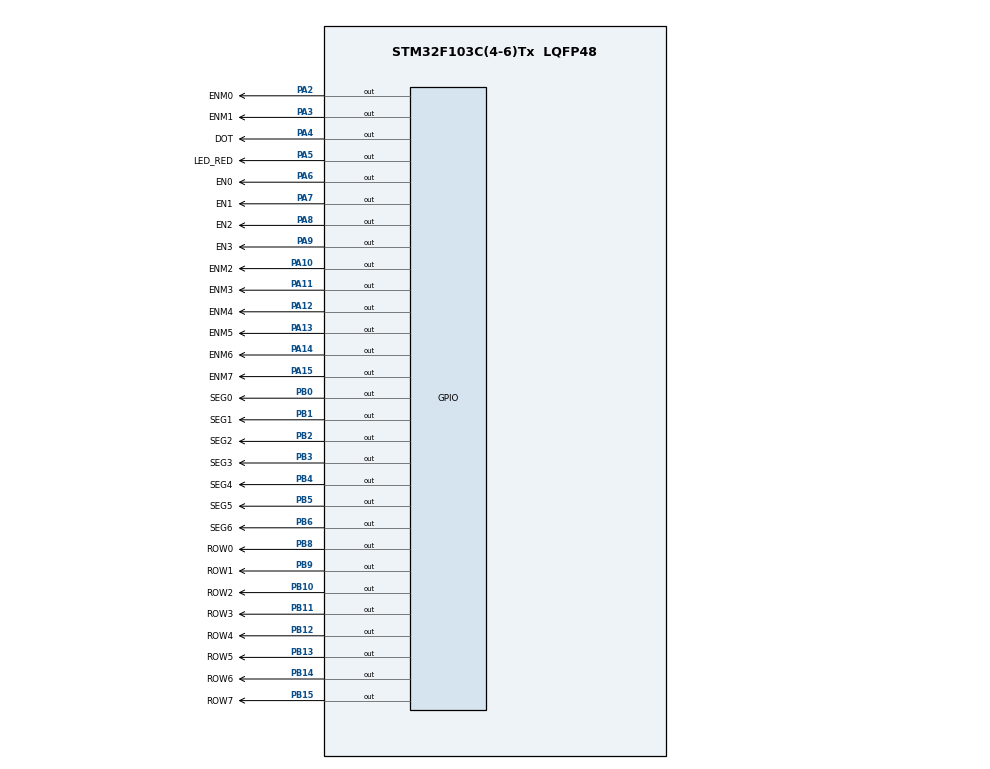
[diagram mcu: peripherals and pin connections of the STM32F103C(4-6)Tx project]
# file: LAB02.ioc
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Mcu.Family=STM32F1
Mcu.Name=STM32F103C(4-6)Tx
Mcu.Package=LQFP48
NVIC.PriorityGroup=NVIC_PRIORITYGROUP_4
NVIC.TIM2_IRQn=true\:0\:0\:false\:false\:true\:true\:true\:true
PA10.GPIO_DefaultOutput=GPIO_PIN_RESET
PA10.GPIO_Label=ENM2
PA10.Signal=GPIO_Output
PA11.GPIO_DefaultOutput=GPIO_PIN_RESET
PA11.GPIO_Label=ENM3
PA11.Signal=GPIO_Output
PA12.GPIO_DefaultOutput=GPIO_PIN_RESET
PA12.GPIO_Label=ENM4
PA12.Signal=GPIO_Output
PA13.GPIO_DefaultOutput=GPIO_PIN_RESET
PA13.GPIO_Label=ENM5
PA13.Signal=GPIO_Output
PA14.GPIO_DefaultOutput=GPIO_PIN_RESET
PA14.GPIO_Label=ENM6
PA14.Signal=GPIO_Output
PA15.GPIO_DefaultOutput=GPIO_PIN_RESET
PA15.GPIO_Label=ENM7
PA15.Signal=GPIO_Output
PA2.GPIO_DefaultOutput=GPIO_PIN_RESET
PA2.GPIO_Label=ENM0
PA2.Signal=GPIO_Output
PA3.GPIO_Label=ENM1
PA3.Signal=GPIO_Output
PA4.GPIO_DefaultOutput=GPIO_PIN_SET
PA4.GPIO_Label=DOT
PA4.Signal=GPIO_Output
PA5.GPIO_DefaultOutput=GPIO_PIN_RESET
PA5.GPIO_Label=LED_RED
PA5.Signal=GPIO_Output
PA6.GPIO_DefaultOutput=GPIO_PIN_SET
PA6.GPIO_Label=EN0
PA6.Signal=GPIO_Output
PA7.GPIO_DefaultOutput=GPIO_PIN_SET
PA7.GPIO_Label=EN1
PA7.Signal=GPIO_Output
PA8.GPIO_DefaultOutput=GPIO_PIN_SET
PA8.GPIO_Label=EN2
PA8.Signal=GPIO_Output
PA9.GPIO_DefaultOutput=GPIO_PIN_SET
PA9.GPIO_Label=EN3
PA9.Signal=GPIO_Output
PB0.GPIO_DefaultOutput=GPIO_PIN_SET
PB0.GPIO_Label=SEG0
PB0.Signal=GPIO_Output
PB1.GPIO_DefaultOutput=GPIO_PIN_SET
PB1.GPIO_Label=SEG1
PB1.Signal=GPIO_Output
PB10.GPIO_DefaultOutput=GPIO_PIN_RESET
PB10.GPIO_Label=ROW2
PB10.Signal=GPIO_Output
PB11.GPIO_DefaultOutput=GPIO_PIN_RESET
PB11.GPIO_Label=ROW3
PB11.Signal=GPIO_Output
PB12.GPIO_DefaultOutput=GPIO_PIN_RESET
PB12.GPIO_Label=ROW4
PB12.Signal=GPIO_Output
PB13.GPIO_DefaultOutput=GPIO_PIN_RESET
PB13.GPIO_Label=ROW5
PB13.Signal=GPIO_Output
PB14.GPIO_DefaultOutput=GPIO_PIN_RESET
PB14.GPIO_Label=ROW6
PB14.Signal=GPIO_Output
PB15.GPIO_DefaultOutput=GPIO_PIN_RESET
PB15.GPIO_Label=ROW7
PB15.Signal=GPIO_Output
PB2.GPIO_DefaultOutput=GPIO_PIN_SET
PB2.GPIO_Label=SEG2
PB2.Signal=GPIO_Output
PB3.GPIO_DefaultOutput=GPIO_PIN_SET
PB3.GPIO_Label=SEG3
PB3.Signal=GPIO_Output
PB4.GPIO_DefaultOutput=GPIO_PIN_SET
PB4.GPIO_Label=SEG4
PB4.Signal=GPIO_Output
PB5.GPIO_DefaultOutput=GPIO_PIN_SET
PB5.GPIO_Label=SEG5
PB5.Signal=GPIO_Output
PB6.GPIO_DefaultOutput=GPIO_PIN_SET
PB6.GPIO_Label=SEG6
PB6.Signal=GPIO_Output
PB8.GPIO_DefaultOutput=GPIO_PIN_RESET
PB8.GPIO_Label=ROW0
PB8.Signal=GPIO_Output
PB9.GPIO_DefaultOutput=GPIO_PIN_RESET
PB9.GPIO_Label=ROW1
PB9.Signal=GPIO_Output
ProjectManager.HeapSize=0x200
ProjectManager.StackSize=0x400
ProjectManager.TargetToolchain=STM32CubeIDE
RCC.APB1Freq_Value=8000000
RCC.APB2Freq_Value=8000000
TIM2.Period=999
TIM2.Prescaler=7
VP_SYS_VS_ND.Mode=No_Debug
VP_TIM2_VS_ClockSourceINT.Mode=Internal
board=custom

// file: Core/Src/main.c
/* USER CODE BEGIN Header */
/**
  ******************************************************************************
  * @file           : main.c
  * @brief          : Main program body
  ******************************************************************************
  * @attention
  *
  * Copyright (c) 2026 STMicroelectronics.
  * All rights reserved.
  *
  * This software is licensed under terms that can be found in the LICENSE file
  * in the root directory of this software component.
  * If no LICENSE file comes with this software, it is provided AS-IS.
  *
  ******************************************************************************
  */
/* USER CODE END Header */
#include "main.h"

TIM_HandleTypeDef htim2;

/* USER CODE BEGIN PV */
const int MAX_LED = 4;
int index_led = 0;
int led_buffer[4] = {1, 5, 0, 8};

const int MAX_LED_MATRIX = 8;
int index_led_matrix = 0;
const uint32_t MATRIX_SHIFT_PERIOD_MS = 300U;
uint32_t matrix_last_shift_tick = 0U;

/* Each byte is the ROW0..ROW7 pattern for one scanned column.
   ROW = HIGH turns on the LED in the currently selected column.
   ENM0..ENM7 drive ULN2803; one column is selected at a time.

   Exercise 10 rotates the columns to move the letter to the left.
   Matrix scanning and animation use independent time scales.

       ........
       ........
       ...##...
       ..#..#..
       ..####..
       ..#..#..
       ........
       ........

   Column-wise data for the centered 4x4 character 'A'. */
uint8_t matrix_buffer[8] = {
    0x00, 0x00, 0x38, 0x14,
    0x14, 0x38, 0x00, 0x00
};

int hour = 15;
int minute = 8;
int second = 50;

void updateClockBuffer(void)
{
  led_buffer[0] = hour / 10;
  led_buffer[1] = hour % 10;
  led_buffer[2] = minute / 10;
  led_buffer[3] = minute % 10;
}

/* Software timers. TIM2 interrupt period = 1 ms. */
volatile int timer0_counter = 0;
volatile int timer0_flag = 0;

volatile int timer1_counter = 0;
volatile int timer1_flag = 0;

volatile int timer2_counter = 0;
volatile int timer2_flag = 0;

const int TIMER_CYCLE = 1;

void setTimer0(int duration)
{
  timer0_counter = duration / TIMER_CYCLE;
  timer0_flag = 0;
}

void setTimer1(int duration)
{
  timer1_counter = duration / TIMER_CYCLE;
  timer1_flag = 0;
}

void setTimer2(int duration)
{
  timer2_counter = duration / TIMER_CYCLE;
  timer2_flag = 0;
}

void timer_run(void)
{
  if (timer0_counter > 0)
  {
    timer0_counter--;

    if (timer0_counter == 0)
    {
      timer0_flag = 1;
    }
  }

  if (timer1_counter > 0)
  {
    timer1_counter--;

    if (timer1_counter == 0)
    {
      timer1_flag = 1;
    }
  }

  if (timer2_counter > 0)
  {
    timer2_counter--;

    if (timer2_counter == 0)
    {
      timer2_flag = 1;
    }
  }
}
/* USER CODE END PV */

void SystemClock_Config(void);
static void MX_GPIO_Init(void);
static void MX_TIM2_Init(void);

/* USER CODE BEGIN PFP */
void display7SEG(int num);
void show7SEG(uint8_t display, int num);
void update7SEG(int index);

void displayMatrixRows(uint8_t data);
void updateLEDMatrix(int index);
void shiftMatrixLeft(void);

void setTimer0(int duration);
void setTimer1(int duration);
void setTimer2(int duration);
void timer_run(void);
/* USER CODE END PFP */

/* USER CODE BEGIN 0 */

/* Both 7-segment modules are common-anode: RESET turns a segment on. */
static void setSegments(GPIO_PinState a, GPIO_PinState b, GPIO_PinState c,
                        GPIO_PinState d, GPIO_PinState e, GPIO_PinState f,
                        GPIO_PinState g)
{
  HAL_GPIO_WritePin(SEG0_GPIO_Port, SEG0_Pin, a);
  HAL_GPIO_WritePin(SEG1_GPIO_Port, SEG1_Pin, b);
  HAL_GPIO_WritePin(SEG2_GPIO_Port, SEG2_Pin, c);
  HAL_GPIO_WritePin(SEG3_GPIO_Port, SEG3_Pin, d);
  HAL_GPIO_WritePin(SEG4_GPIO_Port, SEG4_Pin, e);
  HAL_GPIO_WritePin(SEG5_GPIO_Port, SEG5_Pin, f);
  HAL_GPIO_WritePin(SEG6_GPIO_Port, SEG6_Pin, g);
}

void display7SEG(int num)
{
  switch (num)
  {
    case 0:
      setSegments(GPIO_PIN_RESET, GPIO_PIN_RESET, GPIO_PIN_RESET, GPIO_PIN_RESET,
                  GPIO_PIN_RESET, GPIO_PIN_RESET, GPIO_PIN_SET);
      break;
    case 1:
      setSegments(GPIO_PIN_SET, GPIO_PIN_RESET, GPIO_PIN_RESET, GPIO_PIN_SET,
                  GPIO_PIN_SET, GPIO_PIN_SET, GPIO_PIN_SET);
      break;
    case 2:
      setSegments(GPIO_PIN_RESET, GPIO_PIN_RESET, GPIO_PIN_SET, GPIO_PIN_RESET,
                  GPIO_PIN_RESET, GPIO_PIN_SET, GPIO_PIN_RESET);
      break;
    case 3:
      setSegments(GPIO_PIN_RESET, GPIO_PIN_RESET, GPIO_PIN_RESET, GPIO_PIN_RESET,
                  GPIO_PIN_SET, GPIO_PIN_SET, GPIO_PIN_RESET);
      break;
    case 4:
      setSegments(GPIO_PIN_SET, GPIO_PIN_RESET, GPIO_PIN_RESET, GPIO_PIN_SET,
                  GPIO_PIN_SET, GPIO_PIN_RESET, GPIO_PIN_RESET);
      break;
    case 5:
      setSegments(GPIO_PIN_RESET, GPIO_PIN_SET, GPIO_PIN_RESET, GPIO_PIN_RESET,
                  GPIO_PIN_SET, GPIO_PIN_RESET, GPIO_PIN_RESET);
      break;
    case 6:
      setSegments(GPIO_PIN_RESET, GPIO_PIN_SET, GPIO_PIN_RESET, GPIO_PIN_RESET,
                  GPIO_PIN_RESET, GPIO_PIN_RESET, GPIO_PIN_RESET);
      break;
    case 7:
      setSegments(GPIO_PIN_RESET, GPIO_PIN_RESET, GPIO_PIN_RESET, GPIO_PIN_SET,
                  GPIO_PIN_SET, GPIO_PIN_SET, GPIO_PIN_SET);
      break;
    case 8:
      setSegments(GPIO_PIN_RESET, GPIO_PIN_RESET, GPIO_PIN_RESET, GPIO_PIN_RESET,
                  GPIO_PIN_RESET, GPIO_PIN_RESET, GPIO_PIN_RESET);
      break;
    case 9:
      setSegments(GPIO_PIN_RESET, GPIO_PIN_RESET, GPIO_PIN_RESET, GPIO_PIN_RESET,
                  GPIO_PIN_SET, GPIO_PIN_RESET, GPIO_PIN_RESET);
      break;
    default:
      setSegments(GPIO_PIN_SET, GPIO_PIN_SET, GPIO_PIN_SET, GPIO_PIN_SET,
                  GPIO_PIN_SET, GPIO_PIN_SET, GPIO_PIN_SET);
      break;
  }
}

void show7SEG(uint8_t display, int num)
{
  /* PNP enables are active-low. Disable all displays before changing data. */
  HAL_GPIO_WritePin(GPIOA, EN0_Pin | EN1_Pin | EN2_Pin | EN3_Pin,
                    GPIO_PIN_SET);
  display7SEG(num);

  switch (display)
  {
    case 0U:
      HAL_GPIO_WritePin(EN0_GPIO_Port, EN0_Pin, GPIO_PIN_RESET);
      break;
    case 1U:
      HAL_GPIO_WritePin(EN1_GPIO_Port, EN1_Pin, GPIO_PIN_RESET);
      break;
    case 2U:
      HAL_GPIO_WritePin(EN2_GPIO_Port, EN2_Pin, GPIO_PIN_RESET);
      break;
    case 3U:
      HAL_GPIO_WritePin(EN3_GPIO_Port, EN3_Pin, GPIO_PIN_RESET);
      break;
    default:
      break;
  }
}

void update7SEG(int index)
{
  switch (index)
  {
    case 0:
      show7SEG(0U, led_buffer[0]);
      break;
    case 1:
      show7SEG(1U, led_buffer[1]);
      break;
    case 2:
      show7SEG(2U, led_buffer[2]);
      break;
    case 3:
      show7SEG(3U, led_buffer[3]);
      break;
    default:
      break;
  }
}

/* USER CODE END 0 */

int main(void)
{

  /* MCU Configuration--------------------------------------------------------*/

  /* Reset of all peripherals, Initializes the Flash interface and the Systick. */
  HAL_Init();

  /* Configure the system clock */
  SystemClock_Config();

  /* Initialize all configured peripherals */
  MX_GPIO_Init();
  MX_TIM2_Init();

  /* USER CODE BEGIN 2 */
  updateClockBuffer();

  /* Initial states:
     - PNP 7SEG enables are active-low -> HIGH = off
     - ULN2803 matrix enables are active-high -> LOW = off
     - matrix rows start LOW */
  HAL_GPIO_WritePin(GPIOA, EN0_Pin | EN1_Pin | EN2_Pin | EN3_Pin, GPIO_PIN_SET);
  HAL_GPIO_WritePin(GPIOA,
                    ENM0_Pin | ENM1_Pin | ENM2_Pin | ENM3_Pin |
                    ENM4_Pin | ENM5_Pin | ENM6_Pin | ENM7_Pin,
                    GPIO_PIN_RESET);
  displayMatrixRows(0x00U);

  HAL_TIM_Base_Start_IT(&htim2);

  /* timer0: clock + DOT every 1 second */
  setTimer0(1000);

  /* timer1: scan one 7SEG every 250 ms */
  setTimer1(250);

  /* timer2: scan one LED-matrix column every 1 ms (~125 Hz full frame) */
  setTimer2(1);
  matrix_last_shift_tick = HAL_GetTick();

  /* USER CODE END 2 */

  /* Infinite loop */
  /* USER CODE BEGIN WHILE */
  while (1)
  {
    /* timer0: clock and DOT */
    if (timer0_flag == 1)
    {
      setTimer0(1000);

      HAL_GPIO_TogglePin(DOT_GPIO_Port, DOT_Pin);

      second++;

      if (second >= 60)
      {
        second = 0;
        minute++;

        if (minute >= 60)
        {
          minute = 0;
          hour++;

          if (hour >= 24)
          {
            hour = 0;
          }
        }

        updateClockBuffer();
      }
    }

    /* timer1: 4 seven-segment displays */
    if (timer1_flag == 1)
    {
      setTimer1(250);

      update7SEG(index_led);

      index_led++;

      if (index_led >= MAX_LED)
      {
        index_led = 0;
      }
    }

    /* timer2: 8x8 LED matrix */
    if (timer2_flag == 1)
    {
      setTimer2(1);

      /* Change the image only at the start of a frame. */
      if (index_led_matrix == 0)
      {
        uint32_t now = HAL_GetTick();

        if ((uint32_t)(now - matrix_last_shift_tick) >= MATRIX_SHIFT_PERIOD_MS)
        {
          matrix_last_shift_tick = now;
          shiftMatrixLeft();
        }
      }

      updateLEDMatrix(index_led_matrix);

      index_led_matrix++;

      if (index_led_matrix >= MAX_LED_MATRIX)
      {
        index_led_matrix = 0;
      }
    }

    /* USER CODE END WHILE */

  }
}

void SystemClock_Config(void)
{
  RCC_OscInitTypeDef RCC_OscInitStruct = {0};
  RCC_ClkInitTypeDef RCC_ClkInitStruct = {0};

  /** Initializes the RCC Oscillators according to the specified parameters
  * in the RCC_OscInitTypeDef structure.
  */
  RCC_OscInitStruct.OscillatorType = RCC_OSCILLATORTYPE_HSI;
  RCC_OscInitStruct.HSIState = RCC_HSI_ON;
  RCC_OscInitStruct.HSICalibrationValue = RCC_HSICALIBRATION_DEFAULT;
  RCC_OscInitStruct.PLL.PLLState = RCC_PLL_NONE;
  if (HAL_RCC_OscConfig(&RCC_OscInitStruct) != HAL_OK)
  {
    Error_Handler();
  }

  /** Initializes the CPU, AHB and APB buses clocks
  */
  RCC_ClkInitStruct.ClockType = RCC_CLOCKTYPE_HCLK|RCC_CLOCKTYPE_SYSCLK
                              |RCC_CLOCKTYPE_PCLK1|RCC_CLOCKTYPE_PCLK2;
  RCC_ClkInitStruct.SYSCLKSource = RCC_SYSCLKSOURCE_HSI;
  RCC_ClkInitStruct.AHBCLKDivider = RCC_SYSCLK_DIV1;
  RCC_ClkInitStruct.APB1CLKDivider = RCC_HCLK_DIV1;
  RCC_ClkInitStruct.APB2CLKDivider = RCC_HCLK_DIV1;

  if (HAL_RCC_ClockConfig(&RCC_ClkInitStruct, FLASH_LATENCY_0) != HAL_OK)
  {
    Error_Handler();
  }
}

static void MX_TIM2_Init(void)
{

  TIM_ClockConfigTypeDef sClockSourceConfig = {0};
  TIM_MasterConfigTypeDef sMasterConfig = {0};

  htim2.Instance = TIM2;
  htim2.Init.Prescaler = 7;
  htim2.Init.CounterMode = TIM_COUNTERMODE_UP;
  htim2.Init.Period = 999;
  htim2.Init.ClockDivision = TIM_CLOCKDIVISION_DIV1;
  htim2.Init.AutoReloadPreload = TIM_AUTORELOAD_PRELOAD_DISABLE;
  if (HAL_TIM_Base_Init(&htim2) != HAL_OK)
  {
    Error_Handler();
  }
  sClockSourceConfig.ClockSource = TIM_CLOCKSOURCE_INTERNAL;
  if (HAL_TIM_ConfigClockSource(&htim2, &sClockSourceConfig) != HAL_OK)
  {
    Error_Handler();
  }
  sMasterConfig.MasterOutputTrigger = TIM_TRGO_RESET;
  sMasterConfig.MasterSlaveMode = TIM_MASTERSLAVEMODE_DISABLE;
  if (HAL_TIMEx_MasterConfigSynchronization(&htim2, &sMasterConfig) != HAL_OK)
  {
    Error_Handler();
  }

}

static void MX_GPIO_Init(void)
{
  GPIO_InitTypeDef GPIO_InitStruct = {0};

  /* GPIO Ports Clock Enable */
  __HAL_RCC_GPIOA_CLK_ENABLE();
  __HAL_RCC_GPIOB_CLK_ENABLE();

  /*Configure GPIO pin Output Level */
  HAL_GPIO_WritePin(GPIOA, ENM0_Pin|ENM1_Pin|DOT_Pin|LED_RED_Pin
                          |EN0_Pin|EN1_Pin|EN2_Pin|EN3_Pin
                          |ENM2_Pin|ENM3_Pin|ENM4_Pin|ENM5_Pin
                          |ENM6_Pin|ENM7_Pin, GPIO_PIN_RESET);

  /*Configure GPIO pin Output Level */
  HAL_GPIO_WritePin(GPIOB, SEG0_Pin|SEG1_Pin|SEG2_Pin|ROW2_Pin
                          |ROW3_Pin|ROW4_Pin|ROW5_Pin|ROW6_Pin
                          |ROW7_Pin|SEG3_Pin|SEG4_Pin|SEG5_Pin
                          |SEG6_Pin|ROW0_Pin|ROW1_Pin, GPIO_PIN_RESET);

  /*Configure GPIO pins : ENM0_Pin ENM1_Pin DOT_Pin LED_RED_Pin
                           EN0_Pin EN1_Pin EN2_Pin EN3_Pin
                           ENM2_Pin ENM3_Pin ENM4_Pin ENM5_Pin
                           ENM6_Pin ENM7_Pin */
  GPIO_InitStruct.Pin = ENM0_Pin|ENM1_Pin|DOT_Pin|LED_RED_Pin
                          |EN0_Pin|EN1_Pin|EN2_Pin|EN3_Pin
                          |ENM2_Pin|ENM3_Pin|ENM4_Pin|ENM5_Pin
                          |ENM6_Pin|ENM7_Pin;
  GPIO_InitStruct.Mode = GPIO_MODE_OUTPUT_PP;
  GPIO_InitStruct.Pull = GPIO_NOPULL;
  GPIO_InitStruct.Speed = GPIO_SPEED_FREQ_LOW;
  HAL_GPIO_Init(GPIOA, &GPIO_InitStruct);

  /*Configure GPIO pins : SEG0_Pin SEG1_Pin SEG2_Pin ROW2_Pin
                           ROW3_Pin ROW4_Pin ROW5_Pin ROW6_Pin
                           ROW7_Pin SEG3_Pin SEG4_Pin SEG5_Pin
                           SEG6_Pin ROW0_Pin ROW1_Pin */
  GPIO_InitStruct.Pin = SEG0_Pin|SEG1_Pin|SEG2_Pin|ROW2_Pin
                          |ROW3_Pin|ROW4_Pin|ROW5_Pin|ROW6_Pin
                          |ROW7_Pin|SEG3_Pin|SEG4_Pin|SEG5_Pin
                          |SEG6_Pin|ROW0_Pin|ROW1_Pin;
  GPIO_InitStruct.Mode = GPIO_MODE_OUTPUT_PP;
  GPIO_InitStruct.Pull = GPIO_NOPULL;
  GPIO_InitStruct.Speed = GPIO_SPEED_FREQ_LOW;
  HAL_GPIO_Init(GPIOB, &GPIO_InitStruct);

}

/* USER CODE BEGIN 4 */

void HAL_TIM_PeriodElapsedCallback(TIM_HandleTypeDef *htim)
{
  if (htim->Instance == TIM2)
  {
    /* Exercises 9-10: the interrupt only updates software timers. */
    timer_run();
  }
}

void shiftMatrixLeft(void)
{
  uint8_t first_column = matrix_buffer[0];

  for (int column = 0; column < (MAX_LED_MATRIX - 1); column++)
  {
    matrix_buffer[column] = matrix_buffer[column + 1];
  }

  /* Wrap the disappearing column around to the right edge. */
  matrix_buffer[MAX_LED_MATRIX - 1] = first_column;
}

void displayMatrixRows(uint8_t data)
{
  HAL_GPIO_WritePin(ROW0_GPIO_Port, ROW0_Pin,
                    (data & 0x01U) ? GPIO_PIN_SET : GPIO_PIN_RESET);
  HAL_GPIO_WritePin(ROW1_GPIO_Port, ROW1_Pin,
                    (data & 0x02U) ? GPIO_PIN_SET : GPIO_PIN_RESET);
  HAL_GPIO_WritePin(ROW2_GPIO_Port, ROW2_Pin,
                    (data & 0x04U) ? GPIO_PIN_SET : GPIO_PIN_RESET);
  HAL_GPIO_WritePin(ROW3_GPIO_Port, ROW3_Pin,
                    (data & 0x08U) ? GPIO_PIN_SET : GPIO_PIN_RESET);
  HAL_GPIO_WritePin(ROW4_GPIO_Port, ROW4_Pin,
                    (data & 0x10U) ? GPIO_PIN_SET : GPIO_PIN_RESET);
  HAL_GPIO_WritePin(ROW5_GPIO_Port, ROW5_Pin,
                    (data & 0x20U) ? GPIO_PIN_SET : GPIO_PIN_RESET);
  HAL_GPIO_WritePin(ROW6_GPIO_Port, ROW6_Pin,
                    (data & 0x40U) ? GPIO_PIN_SET : GPIO_PIN_RESET);
  HAL_GPIO_WritePin(ROW7_GPIO_Port, ROW7_Pin,
                    (data & 0x80U) ? GPIO_PIN_SET : GPIO_PIN_RESET);
}

void updateLEDMatrix(int index)
{
  /* Blank the matrix while changing columns to avoid ghosting. */
  HAL_GPIO_WritePin(GPIOA,
                    ENM0_Pin | ENM1_Pin | ENM2_Pin | ENM3_Pin |
                    ENM4_Pin | ENM5_Pin | ENM6_Pin | ENM7_Pin,
                    GPIO_PIN_RESET);

  displayMatrixRows(0x00U);

  if (index < 0 || index >= MAX_LED_MATRIX)
  {
    return;
  }

  /* Apply the row pattern for the selected column. */
  displayMatrixRows(matrix_buffer[index]);

  /* ULN2803 input HIGH -> transistor ON -> selected matrix column is pulled LOW. */
  switch (index)
  {
    case 0:
      HAL_GPIO_WritePin(ENM0_GPIO_Port, ENM0_Pin, GPIO_PIN_SET);
      break;

    case 1:
      HAL_GPIO_WritePin(ENM1_GPIO_Port, ENM1_Pin, GPIO_PIN_SET);
      break;

    case 2:
      HAL_GPIO_WritePin(ENM2_GPIO_Port, ENM2_Pin, GPIO_PIN_SET);
      break;

    case 3:
      HAL_GPIO_WritePin(ENM3_GPIO_Port, ENM3_Pin, GPIO_PIN_SET);
      break;

    case 4:
      HAL_GPIO_WritePin(ENM4_GPIO_Port, ENM4_Pin, GPIO_PIN_SET);
      break;

    case 5:
      HAL_GPIO_WritePin(ENM5_GPIO_Port, ENM5_Pin, GPIO_PIN_SET);
      break;

    case 6:
      HAL_GPIO_WritePin(ENM6_GPIO_Port, ENM6_Pin, GPIO_PIN_SET);
      break;

    case 7:
      HAL_GPIO_WritePin(ENM7_GPIO_Port, ENM7_Pin, GPIO_PIN_SET);
      break;

    default:
      break;
  }
}

/* USER CODE END 4 */

void Error_Handler(void)
{
  __disable_irq();
  while (1)
  {
  }
}
